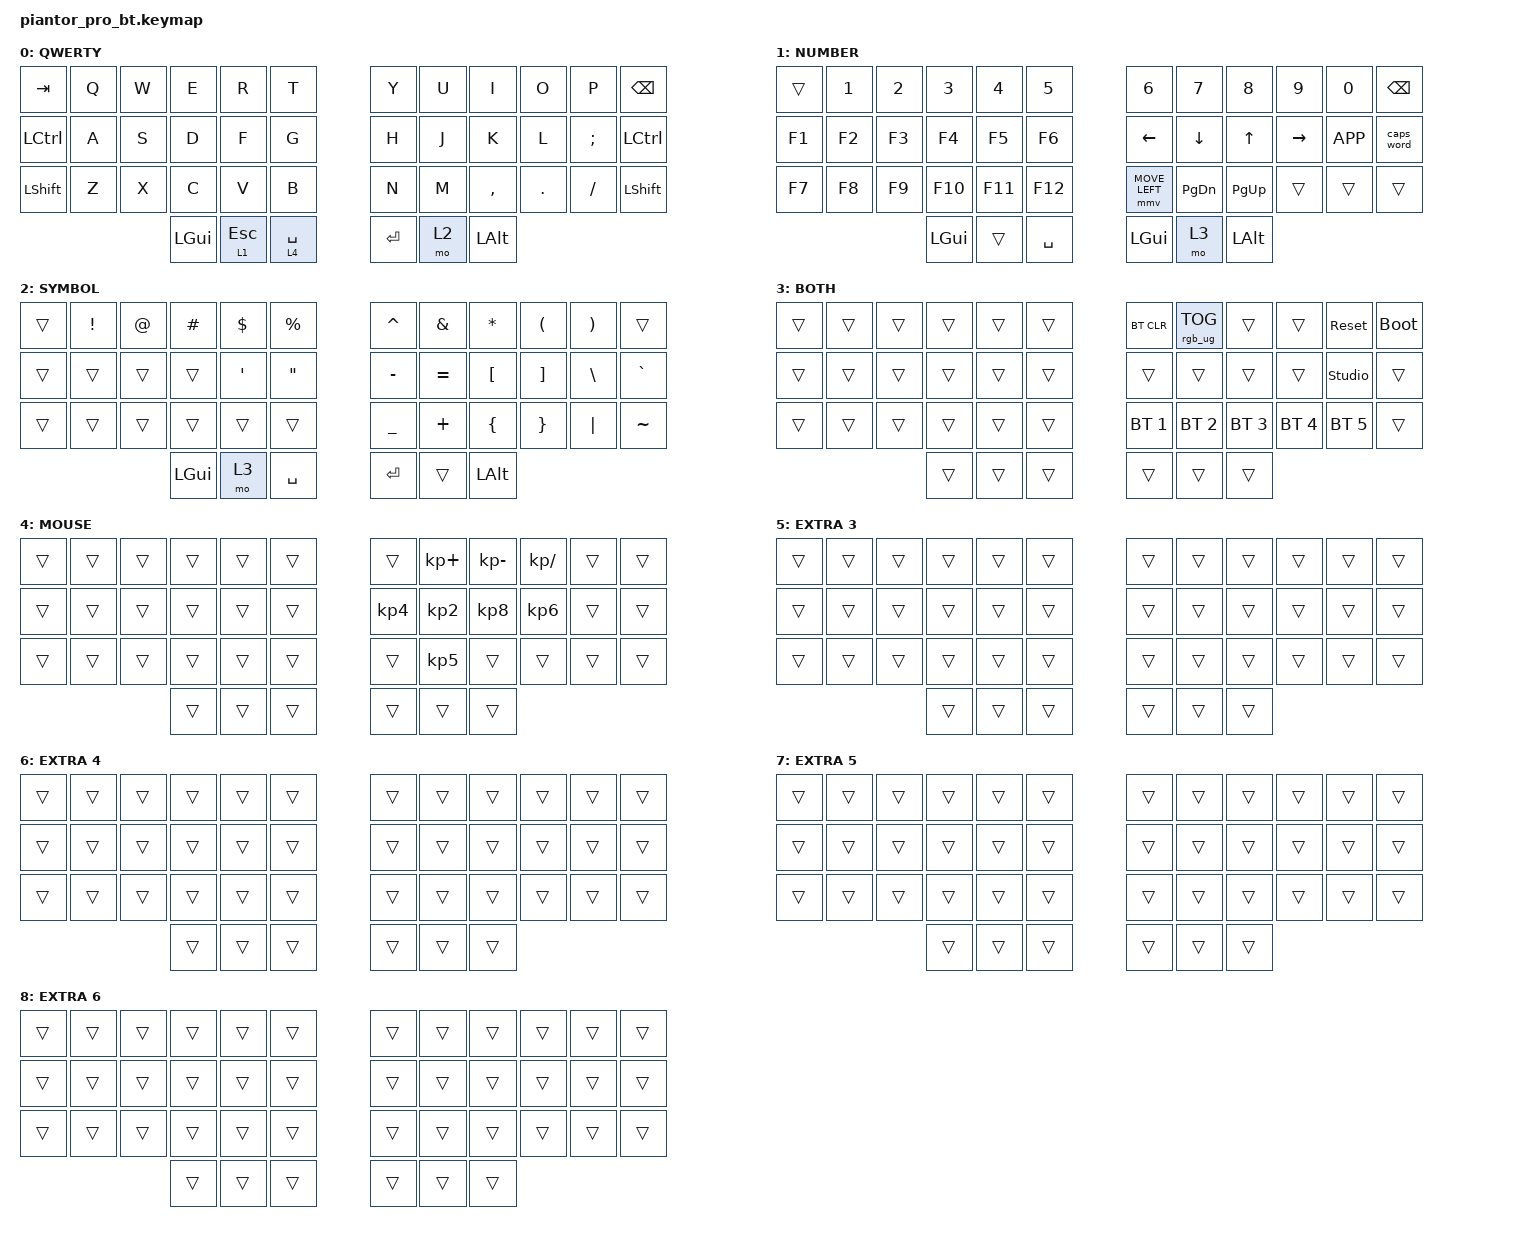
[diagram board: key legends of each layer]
/*
 * Copyright (c) 2020 The ZMK Contributors
 *
 * SPDX-License-Identifier: MIT
 */

#include <behaviors.dtsi>
#include <dt-bindings/zmk/keys.h>
#include <dt-bindings/zmk/bt.h>
#include <dt-bindings/zmk/rgb.h>
#include <dt-bindings/zmk/pointing.h>

/ {
    chosen {
        zmk,physical-layout = &default_layout;
    };
};

/ {
    keymap {
        compatible = "zmk,keymap";

        default_layer {
            display-name = "QWERTY";
            // --------------------------------------------------------------------------------
            // |  TAB |  Q  |  W  |  E  |  R  |  T  |  Y  |  U   |  I  |  O  |  P  | BSPC |
            // | CTRL |  A  |  S  |  D  |  F  |  G  |  H  |  J   |  K  |  L  |  ;  | CTRL |
            // | SHFT |  Z  |  X  |  C  |  V  |  B  |  N  |  M   |  ,  |  .  |  /  | SHFT |
            //                    | GUI | LWR | SPC | ENT | RSE  | ALT |
            //                            ESC
            bindings = <
                &kp TAB   &kp Q &kp W &kp E    &kp R     &kp T     &kp Y   &kp U      &kp I     &kp O   &kp P    &kp BSPC
                &kp LCTRL &kp A &kp S &kp D    &kp F     &kp G     &kp H   &kp J      &kp K     &kp L   &kp SEMI &kp LCTRL
                &kp LSHFT &kp Z &kp X &kp C    &kp V     &kp B     &kp N   &kp M      &kp COMMA &kp DOT &kp FSLH &kp LSHFT
                                      &kp LGUI &lt 1 ESC &lt 4 SPACE &kp RET &mo 2      &kp LALT
            >;
        };

        lower_layer {
            display-name = "NUMBER";
            // -----------------------------------------------------------------------------------------
            // |      |  1  |  2  |  3  |  4  |  5    |  6  |  7  |  8  |  9  |  0  |      |
            // |  F1  | F2  | F3  | F4  | F5  | F6    | LFT | DWN |  UP | RGT | MENU| CAPS |
            // |  F7  | F8  | F9  | F10 | F11 | F12   |     | PGDN| PGUP|     |     |      |
            //                    | GUI |     | SPC   | ENT |     | ALT |
            bindings = <
                &trans &kp N1 &kp N2 &kp N3   &kp N4  &kp N5    &kp N6           &kp N7           &kp N8       &kp N9             &kp N0       &kp BSPC
                &kp F1 &kp F2 &kp F3 &kp F4   &kp F5  &kp F6    &kp LEFT         &kp DOWN         &kp UP       &kp RIGHT          &kp K_APP    &caps_word
                &kp F7 &kp F8 &kp F9 &kp F10  &kp F11 &kp F12   &mmv MOVE_LEFT   &kp PG_DN        &kp PG_UP    &trans             &trans       &trans
                                     &kp LGUI &trans  &kp SPACE &kp LGUI         &mo 3            &kp LALT
            >;
        };

        raise_layer {
            display-name = "SYMBOL";
            // -----------------------------------------------------------------------------------------
            // |      |  !  |  @  |  #  |  $  |  %  |  ^  |  &  |  *  |  (  |  )  |      |
            // |      |     |     |     |  '  |  "  |  -  |  =  |  [  |  ]  |  \  |  `   |
            // |      |     |     |     |     |     |  _  |  +  |  {  |  }  | "|" |  ~   |
            //                    | GUI |     | SPC | ENT |     | ALT |
            bindings = <
                &trans  &kp EXCL &kp AT &kp HASH &kp DLLR &kp PRCNT  &kp CARET &kp AMPS &kp ASTRK &kp LPAR &kp RPAR &trans
                &trans  &trans   &trans &trans   &kp SQT  &kp DQT    &kp MINUS &kp EQUAL &kp LBKT &kp RBKT &kp BSLH &kp GRAVE
                &trans  &trans   &trans &trans   &trans   &trans     &kp UNDER &kp PLUS  &kp LBRC &kp RBRC &kp PIPE &kp TILDE
                                        &kp LGUI &mo 3    &kp SPACE  &kp RET   &trans    &kp LALT
            >;
        };

        extra_layer_1 {
            display-name = "BOTH";
            // -----------------------------------------------------------------------------------------
            // |      |     |     |     |     |     |BTCLR| LED |     |     |RESET| BOOT |
            // |      |     |     |     |     |     |     |     |     |     |UNLCK|      |
            // |      |     |     |     |     |     | BT1 | BT2 | BT3 | BT4 | BT5 |      |
            //                    | GUI |     | SPC | ENT |     | ALT |
            bindings = <
                &trans &trans &trans &trans &trans &trans  &bt BT_CLR    &rgb_ug RGB_TOG &trans       &trans       &sys_reset     &bootloader
                &trans &trans &trans &trans &trans &trans  &trans        &trans          &trans       &trans       &studio_unlock &trans
                &trans &trans &trans &trans &trans &trans  &bt BT_SEL 1  &bt BT_SEL 2    &bt BT_SEL 3 &bt BT_SEL 4 &bt BT_SEL 5   &trans
                                     &trans &trans &trans  &trans &trans &trans       
            >;
        };

        extra_layer_2 {
            display-name = "MOUSE";
            bindings = <
                &trans &trans &trans &trans &trans &trans  &trans    &kp KP_PLUS &kp KP_MINUS &kp KP_DIVIDE &trans &trans
                &trans &trans &trans &trans &trans &trans  &kp KP_N4 &kp KP_N2   &kp KP_N8    &kp KP_N6     &trans &trans
                &trans &trans &trans &trans &trans &trans  &trans    &kp KP_N5   &trans       &trans        &trans &trans
                                     &trans &trans &trans  &trans    &trans &trans       
            >;
        };

        extra_layer_3 {
            display-name = "EXTRA 3";
            bindings = <
                &trans &trans &trans &trans &trans &trans  &trans &trans &trans &trans &trans &trans
                &trans &trans &trans &trans &trans &trans  &trans &trans &trans &trans &trans &trans
                &trans &trans &trans &trans &trans &trans  &trans &trans &trans &trans &trans &trans
                                     &trans &trans &trans  &trans &trans &trans       
            >;
        };

        extra_layer_4 {
            display-name = "EXTRA 4";
            bindings = <
                &trans &trans &trans &trans &trans &trans  &trans &trans &trans &trans &trans &trans
                &trans &trans &trans &trans &trans &trans  &trans &trans &trans &trans &trans &trans
                &trans &trans &trans &trans &trans &trans  &trans &trans &trans &trans &trans &trans
                                     &trans &trans &trans  &trans &trans &trans       
            >;
        };

        extra_layer_5 {
            display-name = "EXTRA 5";
            bindings = <
                &trans &trans &trans &trans &trans &trans  &trans &trans &trans &trans &trans &trans
                &trans &trans &trans &trans &trans &trans  &trans &trans &trans &trans &trans &trans
                &trans &trans &trans &trans &trans &trans  &trans &trans &trans &trans &trans &trans
                                     &trans &trans &trans  &trans &trans &trans       
            >;
        };

        extra_layer_6 {
            display-name = "EXTRA 6";
            bindings = <
                &trans &trans &trans &trans &trans &trans  &trans &trans &trans &trans &trans &trans
                &trans &trans &trans &trans &trans &trans  &trans &trans &trans &trans &trans &trans
                &trans &trans &trans &trans &trans &trans  &trans &trans &trans &trans &trans &trans
                                     &trans &trans &trans  &trans &trans &trans       
            >;
        };
    };
};
